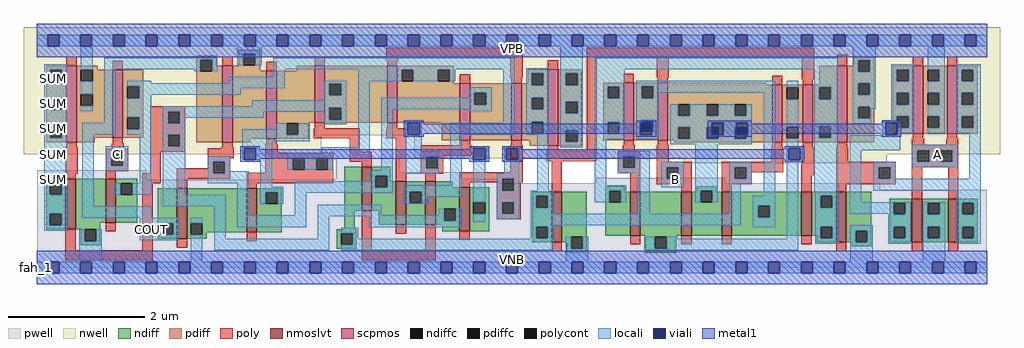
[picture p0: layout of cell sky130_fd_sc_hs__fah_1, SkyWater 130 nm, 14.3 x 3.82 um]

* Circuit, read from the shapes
.subckt sky130_fd_sc_hs__fah_1 A B CI VGND VNB VPB VPWR COUT SUM
XM1 VGND n1 SUM VNB sky130_fd_pr__nfet_01v8_lvt w=0.74 l=0.15
XM2 n2 CI VGND VNB sky130_fd_pr__nfet_01v8_lvt w=0.64 l=0.15
XM3 VGND n3 COUT VNB sky130_fd_pr__nfet_01v8_lvt w=0.74 l=0.15
XM4 n4 n2 VGND VNB sky130_fd_pr__nfet_01v8_lvt w=0.64 l=0.15
XM5 n3 n5 n6 VNB sky130_fd_pr__nfet_01v8_lvt w=0.64 l=0.15
XM6 n2 n7 n3 VNB sky130_fd_pr__nfet_01v8_lvt w=0.64 l=0.15
XM7 n1 n5 n2 VNB sky130_fd_pr__nfet_01v8_lvt w=0.64 l=0.15
XM8 n4 n7 n1 VNB sky130_fd_pr__nfet_01v8_lvt w=0.64 l=0.15
XM9 VGND B n6 VNB sky130_fd_pr__nfet_01v8_lvt w=0.74 l=0.15
XM10 n7 n6 n8 VNB sky130_fd_pr__nfet_01v8_lvt w=0.64 l=0.15
XM11 n9 B n7 VNB sky130_fd_pr__nfet_01v8_lvt w=0.64 l=0.15
XM12 n5 n6 n9 VNB sky130_fd_pr__nfet_01v8_lvt w=0.64 l=0.15
XM13 n8 B n5 VNB sky130_fd_pr__nfet_01v8_lvt w=0.64 l=0.15
XM14 VGND n10 n8 VNB sky130_fd_pr__nfet_01v8_lvt w=0.74 l=0.15
XM15 VGND A n9 VNB sky130_fd_pr__nfet_01v8_lvt w=0.64 l=0.15
XM16 n10 A VGND VNB sky130_fd_pr__nfet_01v8_lvt w=0.64 l=0.15
XM17 VPWR n1 SUM VPB sky130_fd_pr__pfet_01v8 w=1.12 l=0.15
XM18 n2 CI VPWR VPB sky130_fd_pr__pfet_01v8 w=1 l=0.15
XM19 VPWR n3 COUT VPB sky130_fd_pr__pfet_01v8 w=1.12 l=0.15
XM20 n4 n2 VPWR VPB sky130_fd_pr__pfet_01v8 w=1 l=0.15
XM21 n1 n5 n4 VPB sky130_fd_pr__pfet_01v8 w=0.84 l=0.15
XM22 n2 n7 n1 VPB sky130_fd_pr__pfet_01v8 w=0.84 l=0.15
XM23 n3 n5 n2 VPB sky130_fd_pr__pfet_01v8 w=0.84 l=0.15
XM24 n6 n7 n3 VPB sky130_fd_pr__pfet_01v8 w=0.84 l=0.15
XM25 VPWR B n6 VPB sky130_fd_pr__pfet_01v8 w=1.12 l=0.15
XM26 n5 n6 n8 VPB sky130_fd_pr__pfet_01v8 w=0.84 l=0.15
XM27 n9 B n5 VPB sky130_fd_pr__pfet_01v8 w=0.84 l=0.15
XM28 n7 n6 n9 VPB sky130_fd_pr__pfet_01v8 w=0.84 l=0.15
XM29 n8 B n7 VPB sky130_fd_pr__pfet_01v8 w=0.84 l=0.15
XM30 VPWR n10 n8 VPB sky130_fd_pr__pfet_01v8 w=1.12 l=0.15
XM31 VPWR A n9 VPB sky130_fd_pr__pfet_01v8 w=1 l=0.15
XM32 n10 A VPWR VPB sky130_fd_pr__pfet_01v8 w=1 l=0.15
.ends

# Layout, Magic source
magic
tech sky130A
magscale 1 2
<< nwell >>
rect -38 388 2822 704
rect -38 332 833 388
rect 1105 332 2822 388
rect 1105 321 2490 332
rect 1897 306 2490 321
<< pwell >>
rect 1 258 320 286
rect 875 279 1063 321
rect 875 261 1244 279
rect 875 259 1351 261
rect 633 258 1351 259
rect 1 248 1351 258
rect 1639 248 2017 264
rect 1 228 2471 248
rect 1 49 2783 228
rect 0 0 2784 49
<< scpmos >>
rect 86 368 116 592
rect 222 380 252 580
rect 543 368 573 592
rect 672 377 702 577
rect 814 424 844 592
rect 1026 424 1056 592
rect 1239 373 1269 541
rect 1390 373 1420 541
rect 1497 357 1527 581
rect 1719 374 1749 542
rect 1819 374 1849 542
rect 2154 368 2184 536
rect 2244 368 2274 536
rect 2345 368 2375 592
rect 2567 392 2597 592
rect 2667 392 2697 592
<< nmoslvt >>
rect 83 112 113 260
rect 201 132 231 260
rect 410 84 440 232
rect 614 104 644 232
rect 951 167 981 295
rect 1052 125 1082 253
rect 1138 125 1168 253
rect 1238 107 1268 235
rect 1508 74 1538 222
rect 1738 94 1768 222
rect 1888 94 1918 222
rect 2006 94 2036 222
rect 2240 94 2270 222
rect 2342 74 2372 222
rect 2564 74 2594 202
rect 2670 74 2700 202
<< ndiff >>
rect 27 248 83 260
rect 27 214 38 248
rect 72 214 83 248
rect 27 158 83 214
rect 27 124 38 158
rect 72 124 83 158
rect 27 112 83 124
rect 113 132 201 260
rect 231 248 294 260
rect 231 214 245 248
rect 279 214 294 248
rect 231 132 294 214
rect 113 112 186 132
rect 128 78 140 112
rect 174 78 186 112
rect 128 66 186 78
rect 659 232 717 233
rect 354 130 410 232
rect 354 96 365 130
rect 399 96 410 130
rect 354 84 410 96
rect 440 130 614 232
rect 440 96 451 130
rect 485 104 614 130
rect 644 221 717 232
rect 644 187 671 221
rect 705 187 717 221
rect 644 104 717 187
rect 901 167 951 295
rect 981 269 1037 295
rect 981 235 992 269
rect 1026 253 1037 269
rect 1026 235 1052 253
rect 981 167 1052 235
rect 901 113 931 167
rect 485 96 497 104
rect 440 84 497 96
rect 879 101 936 113
rect 879 67 891 101
rect 925 67 936 101
rect 879 55 936 67
rect 1002 125 1052 167
rect 1082 223 1138 253
rect 1082 189 1093 223
rect 1127 189 1138 223
rect 1082 125 1138 189
rect 1168 235 1218 253
rect 1168 172 1238 235
rect 1168 138 1193 172
rect 1227 138 1238 172
rect 1168 125 1238 138
rect 1188 107 1238 125
rect 1268 192 1325 235
rect 1268 158 1279 192
rect 1313 158 1325 192
rect 1268 107 1325 158
rect 1665 226 1723 238
rect 1451 210 1508 222
rect 1451 176 1463 210
rect 1497 176 1508 210
rect 1451 120 1508 176
rect 1451 86 1463 120
rect 1497 86 1508 120
rect 1451 74 1508 86
rect 1538 90 1611 222
rect 1665 192 1677 226
rect 1711 222 1723 226
rect 1933 226 1991 238
rect 1933 222 1945 226
rect 1711 192 1738 222
rect 1665 94 1738 192
rect 1768 94 1888 222
rect 1918 192 1945 222
rect 1979 222 1991 226
rect 1979 192 2006 222
rect 1918 94 2006 192
rect 2036 181 2240 222
rect 2036 147 2113 181
rect 2147 147 2240 181
rect 2036 94 2240 147
rect 2270 210 2342 222
rect 2270 176 2297 210
rect 2331 176 2342 210
rect 2270 120 2342 176
rect 2270 94 2297 120
rect 1538 74 1565 90
rect 1553 56 1565 74
rect 1599 56 1611 90
rect 1783 90 1873 94
rect 1553 44 1611 56
rect 1783 56 1811 90
rect 1845 56 1873 90
rect 2285 86 2297 94
rect 2331 86 2342 120
rect 2285 74 2342 86
rect 2372 108 2445 222
rect 2372 74 2399 108
rect 2433 74 2445 108
rect 2499 190 2564 202
rect 2499 156 2511 190
rect 2545 156 2564 190
rect 2499 120 2564 156
rect 2499 86 2511 120
rect 2545 86 2564 120
rect 2499 74 2564 86
rect 2594 190 2670 202
rect 2594 156 2611 190
rect 2645 156 2670 190
rect 2594 120 2670 156
rect 2594 86 2611 120
rect 2645 86 2670 120
rect 2594 74 2670 86
rect 2700 190 2757 202
rect 2700 156 2711 190
rect 2745 156 2757 190
rect 2700 120 2757 156
rect 2700 86 2711 120
rect 2745 86 2757 120
rect 2700 74 2757 86
rect 1783 44 1873 56
rect 2387 62 2445 74
<< pdiff >>
rect 591 627 654 639
rect 467 609 525 621
rect 27 580 86 592
rect 27 546 39 580
rect 73 546 86 580
rect 27 497 86 546
rect 27 463 39 497
rect 73 463 86 497
rect 27 414 86 463
rect 27 380 39 414
rect 73 380 86 414
rect 27 368 86 380
rect 116 580 178 592
rect 116 546 129 580
rect 163 546 222 580
rect 116 508 222 546
rect 116 474 129 508
rect 163 474 222 508
rect 116 380 222 474
rect 252 531 311 580
rect 252 497 265 531
rect 299 497 311 531
rect 252 440 311 497
rect 467 575 479 609
rect 513 592 525 609
rect 591 593 605 627
rect 639 593 654 627
rect 591 592 654 593
rect 513 575 543 592
rect 252 406 265 440
rect 299 406 311 440
rect 252 380 311 406
rect 116 368 169 380
rect 467 368 543 575
rect 573 577 654 592
rect 761 577 814 592
rect 573 377 672 577
rect 702 424 814 577
rect 844 539 1026 592
rect 844 505 857 539
rect 891 505 1026 539
rect 844 468 1026 505
rect 844 434 857 468
rect 891 434 1026 468
rect 844 424 1026 434
rect 1056 580 1221 592
rect 1056 546 1069 580
rect 1103 546 1175 580
rect 1209 546 1221 580
rect 1056 541 1221 546
rect 1438 569 1497 581
rect 1438 541 1450 569
rect 1056 424 1239 541
rect 702 423 796 424
rect 702 389 732 423
rect 766 389 796 423
rect 702 377 796 389
rect 573 368 626 377
rect 1186 373 1239 424
rect 1269 512 1390 541
rect 1269 478 1282 512
rect 1316 478 1390 512
rect 1269 373 1390 478
rect 1420 535 1450 541
rect 1484 535 1497 569
rect 1420 498 1497 535
rect 1420 464 1450 498
rect 1484 464 1497 498
rect 1420 427 1497 464
rect 1420 393 1450 427
rect 1484 393 1497 427
rect 1420 373 1497 393
rect 1444 357 1497 373
rect 1527 569 1596 581
rect 1527 535 1550 569
rect 1584 535 1596 569
rect 1527 486 1596 535
rect 1527 452 1550 486
rect 1584 452 1596 486
rect 1527 403 1596 452
rect 1527 369 1550 403
rect 1584 369 1596 403
rect 1527 357 1596 369
rect 1660 530 1719 542
rect 1660 496 1672 530
rect 1706 496 1719 530
rect 1660 426 1719 496
rect 1660 392 1672 426
rect 1706 392 1719 426
rect 1660 374 1719 392
rect 1749 531 1819 542
rect 1749 497 1772 531
rect 1806 497 1819 531
rect 1749 432 1819 497
rect 1749 398 1772 432
rect 1806 398 1819 432
rect 1749 374 1819 398
rect 1849 536 2136 542
rect 2393 608 2454 620
rect 2393 592 2406 608
rect 2292 536 2345 592
rect 1849 479 2154 536
rect 1849 445 1879 479
rect 1913 445 1962 479
rect 1996 445 2045 479
rect 2079 445 2154 479
rect 1849 411 2154 445
rect 1849 377 1879 411
rect 1913 377 1962 411
rect 1996 377 2045 411
rect 2079 377 2154 411
rect 1849 374 2154 377
rect 1867 368 2154 374
rect 2184 528 2244 536
rect 2184 494 2197 528
rect 2231 494 2244 528
rect 2184 413 2244 494
rect 2184 379 2197 413
rect 2231 379 2244 413
rect 2184 368 2244 379
rect 2274 528 2345 536
rect 2274 494 2292 528
rect 2326 494 2345 528
rect 2274 415 2345 494
rect 2274 381 2292 415
rect 2326 381 2345 415
rect 2274 368 2345 381
rect 2375 574 2406 592
rect 2440 574 2454 608
rect 2375 540 2454 574
rect 2375 506 2406 540
rect 2440 506 2454 540
rect 2375 472 2454 506
rect 2375 438 2406 472
rect 2440 438 2454 472
rect 2375 368 2454 438
rect 2508 580 2567 592
rect 2508 546 2520 580
rect 2554 546 2567 580
rect 2508 512 2567 546
rect 2508 478 2520 512
rect 2554 478 2567 512
rect 2508 444 2567 478
rect 2508 410 2520 444
rect 2554 410 2567 444
rect 2508 392 2567 410
rect 2597 580 2667 592
rect 2597 546 2610 580
rect 2644 546 2667 580
rect 2597 512 2667 546
rect 2597 478 2610 512
rect 2644 478 2667 512
rect 2597 444 2667 478
rect 2597 410 2610 444
rect 2644 410 2667 444
rect 2597 392 2667 410
rect 2697 580 2757 592
rect 2697 546 2710 580
rect 2744 546 2757 580
rect 2697 512 2757 546
rect 2697 478 2710 512
rect 2744 478 2757 512
rect 2697 444 2757 478
rect 2697 410 2710 444
rect 2744 410 2757 444
rect 2697 392 2757 410
<< ndiffc >>
rect 38 214 72 248
rect 38 124 72 158
rect 245 214 279 248
rect 140 78 174 112
rect 365 96 399 130
rect 451 96 485 130
rect 671 187 705 221
rect 992 235 1026 269
rect 891 67 925 101
rect 1093 189 1127 223
rect 1193 138 1227 172
rect 1279 158 1313 192
rect 1463 176 1497 210
rect 1463 86 1497 120
rect 1677 192 1711 226
rect 1945 192 1979 226
rect 2113 147 2147 181
rect 2297 176 2331 210
rect 1565 56 1599 90
rect 1811 56 1845 90
rect 2297 86 2331 120
rect 2399 74 2433 108
rect 2511 156 2545 190
rect 2511 86 2545 120
rect 2611 156 2645 190
rect 2611 86 2645 120
rect 2711 156 2745 190
rect 2711 86 2745 120
<< pdiffc >>
rect 39 546 73 580
rect 39 463 73 497
rect 39 380 73 414
rect 129 546 163 580
rect 129 474 163 508
rect 265 497 299 531
rect 479 575 513 609
rect 605 593 639 627
rect 265 406 299 440
rect 857 505 891 539
rect 857 434 891 468
rect 1069 546 1103 580
rect 1175 546 1209 580
rect 732 389 766 423
rect 1282 478 1316 512
rect 1450 535 1484 569
rect 1450 464 1484 498
rect 1450 393 1484 427
rect 1550 535 1584 569
rect 1550 452 1584 486
rect 1550 369 1584 403
rect 1672 496 1706 530
rect 1672 392 1706 426
rect 1772 497 1806 531
rect 1772 398 1806 432
rect 1879 445 1913 479
rect 1962 445 1996 479
rect 2045 445 2079 479
rect 1879 377 1913 411
rect 1962 377 1996 411
rect 2045 377 2079 411
rect 2197 494 2231 528
rect 2197 379 2231 413
rect 2292 494 2326 528
rect 2292 381 2326 415
rect 2406 574 2440 608
rect 2406 506 2440 540
rect 2406 438 2440 472
rect 2520 546 2554 580
rect 2520 478 2554 512
rect 2520 410 2554 444
rect 2610 546 2644 580
rect 2610 478 2644 512
rect 2610 410 2644 444
rect 2710 546 2744 580
rect 2710 478 2744 512
rect 2710 410 2744 444
<< poly >>
rect 86 592 116 618
rect 222 580 252 606
rect 543 592 573 618
rect 332 457 435 473
rect 332 423 385 457
rect 419 423 435 457
rect 332 389 435 423
rect 86 353 116 368
rect 222 365 252 380
rect 83 275 119 353
rect 219 348 255 365
rect 332 355 385 389
rect 419 355 435 389
rect 672 577 702 603
rect 814 592 844 618
rect 1023 615 1423 645
rect 1023 607 1059 615
rect 1026 592 1056 607
rect 1239 541 1269 567
rect 1387 556 1423 615
rect 1611 615 2277 645
rect 1497 581 1527 607
rect 1390 541 1420 556
rect 814 409 844 424
rect 1026 409 1056 424
rect 811 379 946 409
rect 1023 379 1082 409
rect 201 332 267 348
rect 201 298 217 332
rect 251 298 267 332
rect 201 282 267 298
rect 332 339 435 355
rect 543 353 573 368
rect 672 362 702 377
rect 540 350 576 353
rect 83 260 113 275
rect 201 260 231 282
rect 332 277 362 339
rect 500 320 576 350
rect 669 337 705 362
rect 916 340 946 379
rect 669 321 868 337
rect 500 311 566 320
rect 500 291 516 311
rect 309 247 362 277
rect 410 277 516 291
rect 550 277 566 311
rect 669 287 750 321
rect 784 287 818 321
rect 852 287 868 321
rect 916 310 981 340
rect 951 295 981 310
rect 669 278 868 287
rect 410 261 566 277
rect 83 51 113 112
rect 201 106 231 132
rect 309 51 339 247
rect 410 232 440 261
rect 614 248 868 278
rect 614 232 644 248
rect 1052 253 1082 379
rect 1239 358 1269 373
rect 1390 358 1420 373
rect 1124 328 1272 358
rect 1124 325 1190 328
rect 1124 291 1140 325
rect 1174 291 1190 325
rect 1124 275 1190 291
rect 1387 280 1423 358
rect 1497 342 1527 357
rect 1611 342 1641 615
rect 1719 542 1749 568
rect 1816 557 1852 615
rect 1819 542 1849 557
rect 2154 536 2184 563
rect 2241 552 2277 615
rect 2345 592 2375 624
rect 2244 536 2274 552
rect 1719 359 1749 374
rect 1819 359 1849 374
rect 2567 592 2597 618
rect 2667 592 2697 618
rect 2567 377 2597 392
rect 2667 377 2697 392
rect 1716 342 1752 359
rect 1494 312 1641 342
rect 1702 326 1768 342
rect 1138 253 1168 275
rect 1238 260 1423 280
rect 410 58 440 84
rect 614 78 644 104
rect 83 21 339 51
rect 951 51 981 167
rect 1238 250 1363 260
rect 1238 235 1268 250
rect 1052 99 1082 125
rect 1138 51 1168 125
rect 1347 226 1363 250
rect 1397 250 1423 260
rect 1397 226 1417 250
rect 1347 192 1417 226
rect 1508 222 1538 312
rect 1702 292 1718 326
rect 1752 292 1768 326
rect 1702 276 1768 292
rect 1347 158 1363 192
rect 1397 158 1417 192
rect 1347 142 1417 158
rect 1238 81 1268 107
rect 1738 222 1768 276
rect 1816 310 1852 359
rect 2154 353 2184 368
rect 2244 353 2274 368
rect 2345 353 2375 368
rect 2564 360 2600 377
rect 2664 360 2700 377
rect 2151 310 2187 353
rect 1816 294 1918 310
rect 1816 260 1845 294
rect 1879 260 1918 294
rect 1816 244 1918 260
rect 1888 222 1918 244
rect 2006 294 2187 310
rect 2241 300 2277 353
rect 2006 260 2045 294
rect 2079 280 2187 294
rect 2079 260 2095 280
rect 2006 244 2095 260
rect 2240 270 2277 300
rect 2342 310 2378 353
rect 2564 344 2700 360
rect 2564 310 2580 344
rect 2614 310 2648 344
rect 2682 310 2700 344
rect 2342 294 2516 310
rect 2006 222 2036 244
rect 2240 222 2270 270
rect 2342 260 2466 294
rect 2500 260 2516 294
rect 2342 244 2516 260
rect 2564 294 2700 310
rect 2342 222 2372 244
rect 951 21 1168 51
rect 1508 48 1538 74
rect 1738 68 1768 94
rect 1888 68 1918 94
rect 2006 68 2036 94
rect 2240 68 2270 94
rect 2564 202 2594 294
rect 2670 202 2700 294
rect 2342 48 2372 74
rect 2564 48 2594 74
rect 2670 48 2700 74
<< polycont >>
rect 385 423 419 457
rect 385 355 419 389
rect 217 298 251 332
rect 516 277 550 311
rect 750 287 784 321
rect 818 287 852 321
rect 1140 291 1174 325
rect 1363 226 1397 260
rect 1718 292 1752 326
rect 1363 158 1397 192
rect 1845 260 1879 294
rect 2045 260 2079 294
rect 2580 310 2614 344
rect 2648 310 2682 344
rect 2466 260 2500 294
<< locali >>
rect 0 649 31 683
rect 65 649 127 683
rect 161 649 223 683
rect 257 649 319 683
rect 353 649 415 683
rect 449 649 511 683
rect 545 649 607 683
rect 641 649 703 683
rect 737 649 799 683
rect 833 649 895 683
rect 929 649 991 683
rect 1025 649 1087 683
rect 1121 649 1183 683
rect 1217 649 1279 683
rect 1313 649 1375 683
rect 1409 649 1471 683
rect 1505 649 1567 683
rect 1601 649 1663 683
rect 1697 649 1759 683
rect 1793 649 1855 683
rect 1889 649 1951 683
rect 1985 649 2047 683
rect 2081 649 2143 683
rect 2177 649 2239 683
rect 2273 649 2335 683
rect 2369 649 2431 683
rect 2465 649 2527 683
rect 2561 649 2623 683
rect 2657 649 2719 683
rect 2753 649 2784 683
rect 22 580 89 596
rect 22 546 39 580
rect 73 546 89 580
rect 22 497 89 546
rect 22 463 39 497
rect 73 463 89 497
rect 22 414 89 463
rect 129 580 163 649
rect 587 627 658 649
rect 129 508 163 546
rect 129 458 163 474
rect 197 609 529 615
rect 197 581 479 609
rect 197 424 231 581
rect 463 575 479 581
rect 513 575 529 609
rect 587 593 605 627
rect 639 593 658 627
rect 692 581 1400 615
rect 692 559 726 581
rect 22 380 39 414
rect 73 380 89 414
rect 22 248 89 380
rect 22 214 38 248
rect 72 214 89 248
rect 22 158 89 214
rect 22 124 38 158
rect 72 124 89 158
rect 133 390 231 424
rect 265 541 335 547
rect 563 541 726 559
rect 941 580 1225 581
rect 265 531 726 541
rect 299 525 726 531
rect 841 539 907 547
rect 299 507 597 525
rect 299 497 335 507
rect 265 440 335 497
rect 841 505 857 539
rect 891 505 907 539
rect 841 491 907 505
rect 631 473 907 491
rect 299 406 335 440
rect 265 390 335 406
rect 133 180 167 390
rect 201 332 267 356
rect 201 298 217 332
rect 251 298 267 332
rect 201 282 267 298
rect 301 248 335 390
rect 226 214 245 248
rect 279 214 335 248
rect 369 468 907 473
rect 369 457 857 468
rect 369 423 385 457
rect 419 439 665 457
rect 419 423 435 439
rect 841 434 857 457
rect 891 434 907 468
rect 369 389 435 423
rect 699 405 732 423
rect 369 355 385 389
rect 419 355 435 389
rect 369 214 435 355
rect 601 389 732 405
rect 766 389 800 423
rect 841 420 907 434
rect 941 546 1069 580
rect 1103 546 1175 580
rect 1209 546 1225 580
rect 601 371 800 389
rect 601 350 689 371
rect 941 353 975 546
rect 1266 512 1332 528
rect 1266 498 1282 512
rect 500 311 566 327
rect 601 316 607 350
rect 641 316 689 350
rect 834 337 975 353
rect 500 277 516 311
rect 550 282 566 311
rect 550 277 621 282
rect 500 248 621 277
rect 369 180 553 214
rect 133 146 335 180
rect 22 108 89 124
rect 301 130 415 146
rect 124 78 140 112
rect 174 78 190 112
rect 301 96 365 130
rect 399 96 415 130
rect 301 80 415 96
rect 451 130 485 146
rect 124 17 190 78
rect 451 17 485 96
rect 519 85 553 180
rect 587 153 621 248
rect 655 237 689 316
rect 734 321 975 337
rect 734 287 750 321
rect 784 287 818 321
rect 852 319 975 321
rect 1009 478 1282 498
rect 1316 478 1332 512
rect 1009 464 1332 478
rect 852 287 868 319
rect 1009 285 1043 464
rect 1266 458 1332 464
rect 976 269 1043 285
rect 1081 424 1127 430
rect 1366 424 1400 581
rect 1081 390 1087 424
rect 1121 390 1127 424
rect 1081 341 1127 390
rect 1211 390 1400 424
rect 1434 569 1500 585
rect 1434 535 1450 569
rect 1484 535 1500 569
rect 1434 498 1500 535
rect 1434 464 1450 498
rect 1484 464 1500 498
rect 1434 427 1500 464
rect 1434 393 1450 427
rect 1484 393 1500 427
rect 1434 390 1500 393
rect 1081 325 1177 341
rect 1081 291 1140 325
rect 1174 291 1177 325
rect 1081 275 1177 291
rect 976 253 992 269
rect 655 221 721 237
rect 655 187 671 221
rect 705 187 721 221
rect 755 235 992 253
rect 1026 235 1043 269
rect 1211 241 1245 390
rect 755 219 1043 235
rect 1077 223 1245 241
rect 755 153 789 219
rect 1077 189 1093 223
rect 1127 207 1245 223
rect 1279 350 1319 356
rect 1313 316 1319 350
rect 1279 310 1319 316
rect 1369 350 1415 356
rect 1369 316 1375 350
rect 1409 316 1415 350
rect 1369 310 1415 316
rect 1127 189 1143 207
rect 1077 187 1143 189
rect 1279 192 1313 310
rect 1369 276 1413 310
rect 587 119 789 153
rect 823 153 1009 185
rect 1177 172 1243 173
rect 1177 153 1193 172
rect 823 151 1193 153
rect 823 85 857 151
rect 975 138 1193 151
rect 1227 138 1243 172
rect 975 119 1243 138
rect 1279 134 1313 158
rect 1347 260 1413 276
rect 1347 226 1363 260
rect 1397 226 1413 260
rect 1466 226 1500 390
rect 1534 569 1600 649
rect 1534 535 1550 569
rect 1584 535 1600 569
rect 1534 486 1600 535
rect 1534 452 1550 486
rect 1584 452 1600 486
rect 1534 403 1600 452
rect 1534 369 1550 403
rect 1584 369 1600 403
rect 1534 353 1600 369
rect 1634 581 2348 615
rect 1634 530 1722 581
rect 1634 496 1672 530
rect 1706 496 1722 530
rect 1634 426 1722 496
rect 1634 392 1672 426
rect 1706 392 1722 426
rect 1634 376 1722 392
rect 1756 531 2163 547
rect 1756 497 1772 531
rect 1806 513 2163 531
rect 1806 497 1822 513
rect 1756 432 1822 497
rect 1756 424 1772 432
rect 1756 390 1768 424
rect 1806 398 1822 432
rect 1802 390 1822 398
rect 1756 376 1822 390
rect 1856 445 1879 479
rect 1913 445 1962 479
rect 1996 445 2045 479
rect 2079 445 2095 479
rect 1856 424 2095 445
rect 1856 411 1977 424
rect 2011 411 2049 424
rect 1856 377 1879 411
rect 1913 377 1962 411
rect 2011 390 2045 411
rect 2083 390 2095 424
rect 1996 377 2045 390
rect 2079 377 2095 390
rect 1634 242 1668 376
rect 1856 361 2095 377
rect 1702 326 1795 342
rect 1702 292 1718 326
rect 1752 292 1795 326
rect 1702 276 1795 292
rect 1634 226 1727 242
rect 1347 192 1413 226
rect 1347 158 1363 192
rect 1397 158 1413 192
rect 1347 142 1413 158
rect 1447 210 1513 226
rect 1447 176 1463 210
rect 1497 176 1513 210
rect 1634 192 1677 226
rect 1711 192 1727 226
rect 1447 158 1513 176
rect 1761 158 1795 276
rect 1829 294 1895 310
rect 1829 260 1845 294
rect 1879 260 1895 294
rect 1829 236 1895 260
rect 1929 226 1995 361
rect 1929 192 1945 226
rect 1979 192 1995 226
rect 2029 294 2095 310
rect 2029 260 2045 294
rect 2079 260 2095 294
rect 2029 244 2095 260
rect 2029 158 2063 244
rect 2129 210 2163 513
rect 1447 124 2063 158
rect 2097 181 2163 210
rect 2097 147 2113 181
rect 2147 147 2163 181
rect 1447 120 1513 124
rect 519 51 857 85
rect 891 101 941 117
rect 925 85 941 101
rect 1447 86 1463 120
rect 1497 86 1513 120
rect 2097 119 2163 147
rect 2197 528 2231 547
rect 2197 413 2231 494
rect 2197 356 2231 379
rect 2277 528 2348 581
rect 2277 494 2292 528
rect 2326 494 2348 528
rect 2277 415 2348 494
rect 2390 608 2458 649
rect 2390 574 2406 608
rect 2440 574 2458 608
rect 2390 540 2458 574
rect 2390 506 2406 540
rect 2440 506 2458 540
rect 2390 472 2458 506
rect 2390 438 2406 472
rect 2440 466 2458 472
rect 2504 580 2570 596
rect 2504 546 2520 580
rect 2554 546 2570 580
rect 2504 512 2570 546
rect 2504 478 2520 512
rect 2554 478 2570 512
rect 2440 438 2444 466
rect 2390 422 2444 438
rect 2504 444 2570 478
rect 2504 432 2520 444
rect 2478 424 2520 432
rect 2277 381 2292 415
rect 2326 381 2348 415
rect 2478 390 2487 424
rect 2554 410 2570 444
rect 2521 394 2570 410
rect 2610 580 2660 649
rect 2644 546 2660 580
rect 2610 512 2660 546
rect 2644 478 2660 512
rect 2610 444 2660 478
rect 2644 410 2660 444
rect 2610 394 2660 410
rect 2694 580 2766 596
rect 2694 546 2710 580
rect 2744 546 2766 580
rect 2694 512 2766 546
rect 2694 478 2710 512
rect 2744 478 2766 512
rect 2694 444 2766 478
rect 2694 410 2710 444
rect 2744 410 2766 444
rect 2694 394 2766 410
rect 2521 390 2530 394
rect 2478 388 2530 390
rect 2197 350 2243 356
rect 2197 316 2203 350
rect 2237 316 2243 350
rect 2197 310 2243 316
rect 1447 85 1513 86
rect 925 67 1513 85
rect 891 51 1513 67
rect 1549 56 1565 90
rect 1599 56 1615 90
rect 1549 17 1615 56
rect 1779 56 1811 90
rect 1845 85 1877 90
rect 2197 85 2231 310
rect 2277 226 2348 381
rect 1845 56 2231 85
rect 2281 210 2348 226
rect 2281 176 2297 210
rect 2331 176 2348 210
rect 2281 120 2348 176
rect 2382 344 2530 388
rect 2564 344 2698 360
rect 2382 192 2416 344
rect 2564 310 2580 344
rect 2614 310 2648 344
rect 2682 310 2698 344
rect 2450 294 2516 310
rect 2564 294 2698 310
rect 2450 260 2466 294
rect 2500 260 2516 294
rect 2732 260 2766 394
rect 2450 226 2766 260
rect 2382 190 2561 192
rect 2382 158 2511 190
rect 2495 156 2511 158
rect 2545 156 2561 190
rect 2281 86 2297 120
rect 2331 86 2348 120
rect 2281 70 2348 86
rect 2383 108 2449 124
rect 2383 74 2399 108
rect 2433 74 2449 108
rect 1779 51 2231 56
rect 2383 17 2449 74
rect 2495 120 2561 156
rect 2495 86 2511 120
rect 2545 86 2561 120
rect 2495 70 2561 86
rect 2595 190 2661 192
rect 2595 156 2611 190
rect 2645 156 2661 190
rect 2595 120 2661 156
rect 2595 86 2611 120
rect 2645 86 2661 120
rect 2595 17 2661 86
rect 2695 190 2766 226
rect 2695 156 2711 190
rect 2745 156 2766 190
rect 2695 120 2766 156
rect 2695 86 2711 120
rect 2745 86 2766 120
rect 2695 70 2766 86
rect 0 -17 31 17
rect 65 -17 127 17
rect 161 -17 223 17
rect 257 -17 319 17
rect 353 -17 415 17
rect 449 -17 511 17
rect 545 -17 607 17
rect 641 -17 703 17
rect 737 -17 799 17
rect 833 -17 895 17
rect 929 -17 991 17
rect 1025 -17 1087 17
rect 1121 -17 1183 17
rect 1217 -17 1279 17
rect 1313 -17 1375 17
rect 1409 -17 1471 17
rect 1505 -17 1567 17
rect 1601 -17 1663 17
rect 1697 -17 1759 17
rect 1793 -17 1855 17
rect 1889 -17 1951 17
rect 1985 -17 2047 17
rect 2081 -17 2143 17
rect 2177 -17 2239 17
rect 2273 -17 2335 17
rect 2369 -17 2431 17
rect 2465 -17 2527 17
rect 2561 -17 2623 17
rect 2657 -17 2719 17
rect 2753 -17 2784 17
<< viali >>
rect 31 649 65 683
rect 127 649 161 683
rect 223 649 257 683
rect 319 649 353 683
rect 415 649 449 683
rect 511 649 545 683
rect 607 649 641 683
rect 703 649 737 683
rect 799 649 833 683
rect 895 649 929 683
rect 991 649 1025 683
rect 1087 649 1121 683
rect 1183 649 1217 683
rect 1279 649 1313 683
rect 1375 649 1409 683
rect 1471 649 1505 683
rect 1567 649 1601 683
rect 1663 649 1697 683
rect 1759 649 1793 683
rect 1855 649 1889 683
rect 1951 649 1985 683
rect 2047 649 2081 683
rect 2143 649 2177 683
rect 2239 649 2273 683
rect 2335 649 2369 683
rect 2431 649 2465 683
rect 2527 649 2561 683
rect 2623 649 2657 683
rect 2719 649 2753 683
rect 607 316 641 350
rect 1087 390 1121 424
rect 1279 316 1313 350
rect 1375 316 1409 350
rect 1768 398 1772 424
rect 1772 398 1802 424
rect 1768 390 1802 398
rect 1977 411 2011 424
rect 2049 411 2083 424
rect 1977 390 1996 411
rect 1996 390 2011 411
rect 2049 390 2079 411
rect 2079 390 2083 411
rect 2487 410 2520 424
rect 2520 410 2521 424
rect 2487 390 2521 410
rect 2203 316 2237 350
rect 31 -17 65 17
rect 127 -17 161 17
rect 223 -17 257 17
rect 319 -17 353 17
rect 415 -17 449 17
rect 511 -17 545 17
rect 607 -17 641 17
rect 703 -17 737 17
rect 799 -17 833 17
rect 895 -17 929 17
rect 991 -17 1025 17
rect 1087 -17 1121 17
rect 1183 -17 1217 17
rect 1279 -17 1313 17
rect 1375 -17 1409 17
rect 1471 -17 1505 17
rect 1567 -17 1601 17
rect 1663 -17 1697 17
rect 1759 -17 1793 17
rect 1855 -17 1889 17
rect 1951 -17 1985 17
rect 2047 -17 2081 17
rect 2143 -17 2177 17
rect 2239 -17 2273 17
rect 2335 -17 2369 17
rect 2431 -17 2465 17
rect 2527 -17 2561 17
rect 2623 -17 2657 17
rect 2719 -17 2753 17
<< metal1 >>
rect 0 683 2784 715
rect 0 649 31 683
rect 65 649 127 683
rect 161 649 223 683
rect 257 649 319 683
rect 353 649 415 683
rect 449 649 511 683
rect 545 649 607 683
rect 641 649 703 683
rect 737 649 799 683
rect 833 649 895 683
rect 929 649 991 683
rect 1025 649 1087 683
rect 1121 649 1183 683
rect 1217 649 1279 683
rect 1313 649 1375 683
rect 1409 649 1471 683
rect 1505 649 1567 683
rect 1601 649 1663 683
rect 1697 649 1759 683
rect 1793 649 1855 683
rect 1889 649 1951 683
rect 1985 649 2047 683
rect 2081 649 2143 683
rect 2177 649 2239 683
rect 2273 649 2335 683
rect 2369 649 2431 683
rect 2465 649 2527 683
rect 2561 649 2623 683
rect 2657 649 2719 683
rect 2753 649 2784 683
rect 0 617 2784 649
rect 1075 424 1133 430
rect 1075 390 1087 424
rect 1121 421 1133 424
rect 1756 424 1814 430
rect 1756 421 1768 424
rect 1121 393 1768 421
rect 1121 390 1133 393
rect 1075 384 1133 390
rect 1756 390 1768 393
rect 1802 390 1814 424
rect 1756 384 1814 390
rect 1965 424 2095 430
rect 1965 390 1977 424
rect 2011 390 2049 424
rect 2083 421 2095 424
rect 2475 424 2533 430
rect 2475 421 2487 424
rect 2083 393 2487 421
rect 2083 390 2095 393
rect 1965 384 2095 390
rect 2475 390 2487 393
rect 2521 390 2533 424
rect 2475 384 2533 390
rect 595 350 653 356
rect 595 316 607 350
rect 641 347 653 350
rect 1267 350 1325 356
rect 1267 347 1279 350
rect 641 319 1279 347
rect 641 316 653 319
rect 595 310 653 316
rect 1267 316 1279 319
rect 1313 316 1325 350
rect 1267 310 1325 316
rect 1363 350 1421 356
rect 1363 316 1375 350
rect 1409 347 1421 350
rect 2191 350 2249 356
rect 2191 347 2203 350
rect 1409 319 2203 347
rect 1409 316 1421 319
rect 1363 310 1421 316
rect 2191 316 2203 319
rect 2237 316 2249 350
rect 2191 310 2249 316
rect 0 17 2784 49
rect 0 -17 31 17
rect 65 -17 127 17
rect 161 -17 223 17
rect 257 -17 319 17
rect 353 -17 415 17
rect 449 -17 511 17
rect 545 -17 607 17
rect 641 -17 703 17
rect 737 -17 799 17
rect 833 -17 895 17
rect 929 -17 991 17
rect 1025 -17 1087 17
rect 1121 -17 1183 17
rect 1217 -17 1279 17
rect 1313 -17 1375 17
rect 1409 -17 1471 17
rect 1505 -17 1567 17
rect 1601 -17 1663 17
rect 1697 -17 1759 17
rect 1793 -17 1855 17
rect 1889 -17 1951 17
rect 1985 -17 2047 17
rect 2081 -17 2143 17
rect 2177 -17 2239 17
rect 2273 -17 2335 17
rect 2369 -17 2431 17
rect 2465 -17 2527 17
rect 2561 -17 2623 17
rect 2657 -17 2719 17
rect 2753 -17 2784 17
rect 0 -49 2784 -17
<< labels >>
rlabel comment s 0 0 0 0 4 fah_1
flabel pwell s 0 0 2784 49 0 FreeSans 200 0 0 0 VNB
port 5 nsew ground bidirectional
flabel nwell s 0 617 2784 666 0 FreeSans 200 0 0 0 VPB
port 6 nsew power bidirectional
flabel metal1 s 0 617 2784 666 0 FreeSans 340 0 0 0 VPWR
port 7 nsew power bidirectional
flabel metal1 s 0 0 2784 49 0 FreeSans 340 0 0 0 VGND
port 4 nsew ground bidirectional
flabel locali s 2623 316 2657 350 0 FreeSans 340 0 0 0 A
port 1 nsew signal input
flabel locali s 223 316 257 350 0 FreeSans 340 0 0 0 CI
port 3 nsew signal input
flabel locali s 31 242 65 276 0 FreeSans 340 0 0 0 SUM
port 9 nsew signal output
flabel locali s 31 316 65 350 0 FreeSans 340 0 0 0 SUM
port 9 nsew signal output
flabel locali s 31 390 65 424 0 FreeSans 340 0 0 0 SUM
port 9 nsew signal output
flabel locali s 31 464 65 498 0 FreeSans 340 0 0 0 SUM
port 9 nsew signal output
flabel locali s 31 538 65 572 0 FreeSans 340 0 0 0 SUM
port 9 nsew signal output
flabel locali s 319 94 353 128 0 FreeSans 340 0 0 0 COUT
port 8 nsew signal output
flabel locali s 1855 242 1889 276 0 FreeSans 340 0 0 0 B
port 2 nsew signal input
<< properties >>
string LEFsite unit
string LEFclass CORE
string FIXED_BBOX 0 0 2784 666
string GDS_FILE $PDKPATH/libs.ref/sky130_fd_sc_hs/gds/sky130_fd_sc_hs.gds
string LEFsymmetry X Y
string GDS_END 3480458
string GDS_START 3460004
<< end >>
